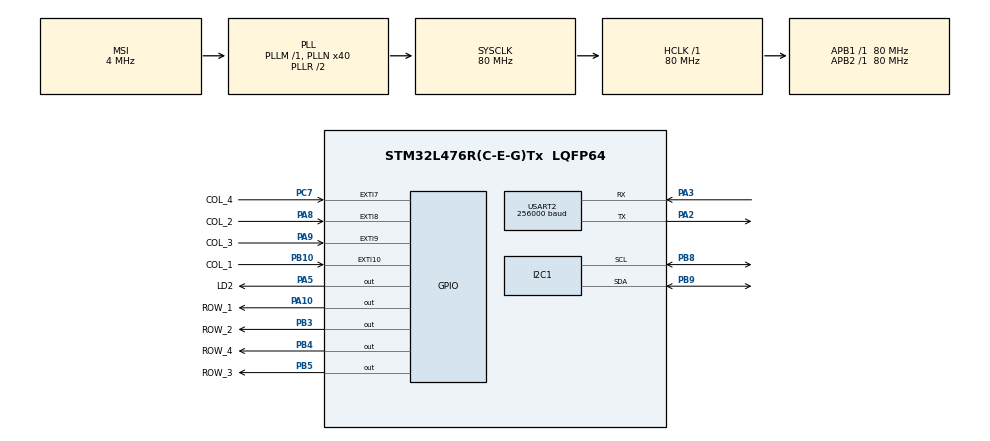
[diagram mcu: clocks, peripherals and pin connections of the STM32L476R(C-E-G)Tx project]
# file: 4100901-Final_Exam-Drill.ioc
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I2C1.Timing=0x10D19CE4
Mcu.Family=STM32L4
Mcu.Name=STM32L476R(C-E-G)Tx
Mcu.Package=LQFP64
NVIC.EXTI15_10_IRQn=true\:0\:0\:false\:false\:true\:true\:true\:true
NVIC.EXTI9_5_IRQn=true\:0\:0\:false\:false\:true\:true\:true\:true
NVIC.I2C1_ER_IRQn=true\:0\:0\:false\:false\:true\:true\:true\:true
NVIC.I2C1_EV_IRQn=true\:0\:0\:false\:false\:true\:true\:true\:true
NVIC.PriorityGroup=NVIC_PRIORITYGROUP_4
NVIC.USART2_IRQn=true\:0\:0\:false\:false\:true\:true\:true\:true
PA10.GPIO_Label=ROW_1
PA10.PinState=GPIO_PIN_SET
PA10.Signal=GPIO_Output
PA2.Mode=Asynchronous
PA2.Signal=USART2_TX
PA3.Mode=Asynchronous
PA3.Signal=USART2_RX
PA5.GPIO_Label=LD2
PA5.Signal=GPIO_Output
PA8.GPIO_Label=COL_2
PA8.GPIO_ModeDefaultEXTI=GPIO_MODE_IT_RISING
PA8.GPIO_PuPd=GPIO_PULLDOWN
PA8.Signal=GPXTI8
PA9.GPIO_Label=COL_3
PA9.GPIO_ModeDefaultEXTI=GPIO_MODE_IT_RISING
PA9.GPIO_PuPd=GPIO_PULLDOWN
PA9.Signal=GPXTI9
PB10.GPIO_Label=COL_1
PB10.GPIO_ModeDefaultEXTI=GPIO_MODE_IT_RISING
PB10.GPIO_PuPd=GPIO_PULLDOWN
PB10.Signal=GPXTI10
PB3\ (JTDO-TRACESWO).GPIO_Label=ROW_2
PB3\ (JTDO-TRACESWO).PinState=GPIO_PIN_SET
PB3\ (JTDO-TRACESWO).Signal=GPIO_Output
PB4\ (NJTRST).GPIO_Label=ROW_4
PB4\ (NJTRST).PinState=GPIO_PIN_SET
PB4\ (NJTRST).Signal=GPIO_Output
PB5.GPIO_Label=ROW_3
PB5.PinState=GPIO_PIN_SET
PB5.Signal=GPIO_Output
PB8.Mode=I2C
PB8.Signal=I2C1_SCL
PB9.Mode=I2C
PB9.Signal=I2C1_SDA
PC7.GPIO_Label=COL_4
PC7.GPIO_ModeDefaultEXTI=GPIO_MODE_IT_RISING
PC7.GPIO_PuPd=GPIO_PULLDOWN
PC7.Signal=GPXTI7
ProjectManager.HeapSize=0x200
ProjectManager.StackSize=0x400
ProjectManager.TargetToolchain=STM32CubeIDE
RCC.AHBFreq_Value=80000000
RCC.APB1Freq_Value=80000000
RCC.APB1TimFreq_Value=80000000
RCC.APB2Freq_Value=80000000
RCC.APB2TimFreq_Value=80000000
RCC.CortexFreq_Value=80000000
RCC.HCLKFreq_Value=80000000
RCC.HSE_VALUE=8000000
RCC.HSI_VALUE=16000000
RCC.LSE_VALUE=32768
RCC.MSI_VALUE=4000000
RCC.PLLN=40
RCC.SYSCLKFreq_VALUE=80000000
RCC.SYSCLKSource=RCC_SYSCLKSOURCE_PLLCLK
RCC.VCOOutputFreq_Value=160000000
USART2.BaudRate=256000
USART2.VirtualMode-Asynchronous=VM_ASYNC
board=custom

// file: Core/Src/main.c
/* USER CODE BEGIN Header */
/**
  ******************************************************************************
  * @file           : main.c
  * @brief          : Main program body
  ******************************************************************************
  * @attention
  *
  * Copyright (c) 2024 STMicroelectronics.
  * All rights reserved.
  *
  * This software is licensed under terms that can be found in the LICENSE file
  * in the root directory of this software component.
  * If no LICENSE file comes with this software, it is provided AS-IS.
  *
  ******************************************************************************
  */
/* USER CODE END Header */
#include "main.h"

/* USER CODE BEGIN Includes */
#include <stdio.h>
#include "ssd1306.h"
#include "ssd1306_fonts.h"

#include "keyboard_pass.h"
#include "blinking.h"
#include "ring_buffer.h"

/* USER CODE END Includes */

I2C_HandleTypeDef hi2c1;

UART_HandleTypeDef huart2;

/* USER CODE BEGIN PV */
#define USART2_BUFFER_SIZE 10
uint16_t usart2_buffer[USART2_BUFFER_SIZE];
ring_buffer_t usart2_rb;
uint16_t usart2_rx;

// Creamos una bandera para saber cuando el usuario presiona # o *
uint8_t enter = 0;

uint8_t password[10];

uint32_t left_toggles = 0;
uint32_t left_last_press_tick = 0;

// Buffer:
ring_buffer_t rb_usart2;

/* USER CODE END PV */

void SystemClock_Config(void);
static void MX_GPIO_Init(void);
static void MX_USART2_UART_Init(void);
static void MX_I2C1_Init(void);

/* USER CODE BEGIN 0 */
int _write(int file, char *ptr, int len)
{
  // to using printf
  HAL_UART_Transmit(&huart2, (uint8_t *)ptr, len, 10);
  return len;
}

void HAL_UART_RxCpltCallback(UART_HandleTypeDef *huart)
{
  /* Data received in USART2 */
  if (huart->Instance == USART2) {
	  usart2_rx = USART2->RDR; // leyendo el byte recibido de USART2
	  ring_buffer_write(&usart2_rb, usart2_rx); // put the data received in buffer
	  //HAL_UART_Receive_IT(&huart2, &usart2_rx, 1); // enable interrupt to continue receiving
	  ATOMIC_SET_BIT(USART2->CR1, USART_CR1_RXNEIE); // usando un funcion mas liviana para reducir memoria
  }
}

void HAL_GPIO_EXTI_Callback(uint16_t GPIO_Pin)
{
	uint8_t key_pressed = keypad_scan(GPIO_Pin);

	if (key_pressed != 0xFF) {
		// Al presionar # o * se cambia la variable enter a 1 y se sale del callback
		if(key_pressed == '#'){
			printf("ENTER: %c\r\n", key_pressed);
			enter = 1;
			return;
		}else if(key_pressed == '*'){
			ring_buffer_reset(&usart2_rb);
			HAL_GPIO_WritePin(LD2_GPIO_Port, LD2_Pin, GPIO_PIN_RESET);
			printf("RESET: %c\r\n", key_pressed);

			// Reseteamos el mensaje igualmente:
			ssd1306_FillRectangle(37, 50, 97, 20, Black);
			ssd1306_SetCursor(45, 30);
			ssd1306_WriteString("Hello!", Font_7x10, White);
			ssd1306_UpdateScreen();
			return;
		}

		printf("Pressed: %c\r\n", key_pressed);
		ring_buffer_write(&usart2_rb, key_pressed);
		return;
	}
}

void low_power_mode()
{
#define AWAKE_TIME (10 * 1000) // 10 segundos
	static uint32_t sleep_tick = AWAKE_TIME;

	if (sleep_tick > HAL_GetTick()) {
		return;
	}

	printf("Sleeping\r\n");
	sleep_tick = HAL_GetTick() + AWAKE_TIME;

	RCC->AHB1SMENR  = 0x0;
	RCC->AHB2SMENR  = 0x0;
	RCC->AHB3SMENR  = 0x0;

	RCC->APB1SMENR1 = 0x0;
	RCC->APB1SMENR2 = 0x0;
	RCC->APB2SMENR  = 0x0;

	/*Suspend Tick increment to prevent wakeup by Systick interrupt.
	Otherwise the Systick interrupt will wake up the device within 1ms (HAL time base)*/
	HAL_SuspendTick();

	/* Enter Sleep Mode , wake up is done once User push-button is pressed */
	HAL_PWR_EnterSLEEPMode(PWR_MAINREGULATOR_ON, PWR_SLEEPENTRY_WFI);

	/* Resume Tick interrupt if disabled prior to SLEEP mode entry */
	HAL_ResumeTick();

	printf("Awake\r\n");
}
/* USER CODE END 0 */

int main(void)
{

  /* MCU Configuration--------------------------------------------------------*/

  /* Reset of all peripherals, Initializes the Flash interface and the Systick. */
  HAL_Init();

  /* Configure the system clock */
  SystemClock_Config();

  /* Initialize all configured peripherals */
  MX_GPIO_Init();
  MX_USART2_UART_Init();
  MX_I2C1_Init();
  /* USER CODE BEGIN 2 */
  ring_buffer_init(&usart2_rb, usart2_buffer, USART2_BUFFER_SIZE);

	ssd1306_Init();
	ssd1306_SetCursor(45, 30);
	ssd1306_WriteString("Hello!", Font_7x10, White);
	ssd1306_UpdateScreen();
  /* USER CODE END 2 */

  /* Infinite loop */
  /* USER CODE BEGIN WHILE */
  printf("Starting...\r\n");

  uint8_t cont = 0;
  uint8_t toggle = 0;
  while (1)
  {
	  // Cuando la bandera se activa (se presiona * o #)
	  if (enter == 1) {
		  printf("Received:\r\n");
		  while (ring_buffer_is_empty(&usart2_rb) == 0) {
			  uint8_t data[10];
			  uint8_t read;

			  for (uint8_t i = 0; i <= 10; i++){
				  ring_buffer_read(&usart2_rb, &read);
				  data[i] = read;
			  };

			  if(keyboard_ID(data)){
				  cont = 0;
				  toggle = 0;
				  printf("Correct password");

				  // Si hay algo escrito, se borra:
				  ssd1306_FillRectangle(37, 50, 97, 20, Black);
				  ssd1306_SetCursor(40, 30);
				  ssd1306_UpdateScreen();

				  // Se escribe el mensaje
				  ssd1306_WriteString("Success!", Font_7x10, White);
				  ssd1306_UpdateScreen();

				  // Sen enciende el led:
				  blinking_on_led();

			  }else{
				  printf("Password error");

				  ssd1306_FillRectangle(37, 50, 97, 20, Black);
				  ssd1306_SetCursor(45, 30);
				  ssd1306_UpdateScreen();

				  ssd1306_WriteString("Error!", Font_7x10, White);
				  ssd1306_UpdateScreen();

				  // Se enciende el led 3 veces si la contraseña es incorrecta:
				  //blinking_led();
				  cont = 1;
				  toggle = 6;

				  // Si el led está encendido, se apaga completamente
				  HAL_GPIO_WritePin(LD2_GPIO_Port, LD2_Pin, GPIO_PIN_RESET);
			  }
		  }
		  printf("\r\n");
		  //ring_buffer_reset(usart2_rb);

		  enter = 0;
	  }
	  if(cont != 0){
		  cont = blinking_led_ret(&toggle);
	  }else{
	  low_power_mode();
	  }
    /* USER CODE END WHILE */

  }
}

void SystemClock_Config(void)
{
  RCC_OscInitTypeDef RCC_OscInitStruct = {0};
  RCC_ClkInitTypeDef RCC_ClkInitStruct = {0};

  /** Configure the main internal regulator output voltage
  */
  if (HAL_PWREx_ControlVoltageScaling(PWR_REGULATOR_VOLTAGE_SCALE1) != HAL_OK)
  {
    Error_Handler();
  }

  /** Initializes the RCC Oscillators according to the specified parameters
  * in the RCC_OscInitTypeDef structure.
  */
  RCC_OscInitStruct.OscillatorType = RCC_OSCILLATORTYPE_MSI;
  RCC_OscInitStruct.MSIState = RCC_MSI_ON;
  RCC_OscInitStruct.MSICalibrationValue = 0;
  RCC_OscInitStruct.MSIClockRange = RCC_MSIRANGE_6;
  RCC_OscInitStruct.PLL.PLLState = RCC_PLL_ON;
  RCC_OscInitStruct.PLL.PLLSource = RCC_PLLSOURCE_MSI;
  RCC_OscInitStruct.PLL.PLLM = 1;
  RCC_OscInitStruct.PLL.PLLN = 40;
  RCC_OscInitStruct.PLL.PLLP = RCC_PLLP_DIV7;
  RCC_OscInitStruct.PLL.PLLQ = RCC_PLLQ_DIV2;
  RCC_OscInitStruct.PLL.PLLR = RCC_PLLR_DIV2;
  if (HAL_RCC_OscConfig(&RCC_OscInitStruct) != HAL_OK)
  {
    Error_Handler();
  }

  /** Initializes the CPU, AHB and APB buses clocks
  */
  RCC_ClkInitStruct.ClockType = RCC_CLOCKTYPE_HCLK|RCC_CLOCKTYPE_SYSCLK
                              |RCC_CLOCKTYPE_PCLK1|RCC_CLOCKTYPE_PCLK2;
  RCC_ClkInitStruct.SYSCLKSource = RCC_SYSCLKSOURCE_PLLCLK;
  RCC_ClkInitStruct.AHBCLKDivider = RCC_SYSCLK_DIV1;
  RCC_ClkInitStruct.APB1CLKDivider = RCC_HCLK_DIV1;
  RCC_ClkInitStruct.APB2CLKDivider = RCC_HCLK_DIV1;

  if (HAL_RCC_ClockConfig(&RCC_ClkInitStruct, FLASH_LATENCY_4) != HAL_OK)
  {
    Error_Handler();
  }
}

static void MX_I2C1_Init(void)
{

  hi2c1.Instance = I2C1;
  hi2c1.Init.Timing = 0x10D19CE4;
  hi2c1.Init.OwnAddress1 = 0;
  hi2c1.Init.AddressingMode = I2C_ADDRESSINGMODE_7BIT;
  hi2c1.Init.DualAddressMode = I2C_DUALADDRESS_DISABLE;
  hi2c1.Init.OwnAddress2 = 0;
  hi2c1.Init.OwnAddress2Masks = I2C_OA2_NOMASK;
  hi2c1.Init.GeneralCallMode = I2C_GENERALCALL_DISABLE;
  hi2c1.Init.NoStretchMode = I2C_NOSTRETCH_DISABLE;
  if (HAL_I2C_Init(&hi2c1) != HAL_OK)
  {
    Error_Handler();
  }

  /** Configure Analogue filter
  */
  if (HAL_I2CEx_ConfigAnalogFilter(&hi2c1, I2C_ANALOGFILTER_ENABLE) != HAL_OK)
  {
    Error_Handler();
  }

  /** Configure Digital filter
  */
  if (HAL_I2CEx_ConfigDigitalFilter(&hi2c1, 0) != HAL_OK)
  {
    Error_Handler();
  }

}

static void MX_USART2_UART_Init(void)
{

  huart2.Instance = USART2;
  huart2.Init.BaudRate = 256000;
  huart2.Init.WordLength = UART_WORDLENGTH_8B;
  huart2.Init.StopBits = UART_STOPBITS_1;
  huart2.Init.Parity = UART_PARITY_NONE;
  huart2.Init.Mode = UART_MODE_TX_RX;
  huart2.Init.HwFlowCtl = UART_HWCONTROL_NONE;
  huart2.Init.OverSampling = UART_OVERSAMPLING_16;
  huart2.Init.OneBitSampling = UART_ONE_BIT_SAMPLE_DISABLE;
  huart2.AdvancedInit.AdvFeatureInit = UART_ADVFEATURE_NO_INIT;
  if (HAL_UART_Init(&huart2) != HAL_OK)
  {
    Error_Handler();
  }

}

static void MX_GPIO_Init(void)
{
  GPIO_InitTypeDef GPIO_InitStruct = {0};

  /* GPIO Ports Clock Enable */
  __HAL_RCC_GPIOA_CLK_ENABLE();
  __HAL_RCC_GPIOB_CLK_ENABLE();
  __HAL_RCC_GPIOC_CLK_ENABLE();

  /*Configure GPIO pin Output Level */
  HAL_GPIO_WritePin(LD2_GPIO_Port, LD2_Pin, GPIO_PIN_RESET);

  /*Configure GPIO pin Output Level */
  HAL_GPIO_WritePin(ROW_1_GPIO_Port, ROW_1_Pin, GPIO_PIN_SET);

  /*Configure GPIO pin Output Level */
  HAL_GPIO_WritePin(GPIOB, ROW_2_Pin|ROW_4_Pin|ROW_3_Pin, GPIO_PIN_SET);

  /*Configure GPIO pins : LD2_Pin ROW_1_Pin */
  GPIO_InitStruct.Pin = LD2_Pin|ROW_1_Pin;
  GPIO_InitStruct.Mode = GPIO_MODE_OUTPUT_PP;
  GPIO_InitStruct.Pull = GPIO_NOPULL;
  GPIO_InitStruct.Speed = GPIO_SPEED_FREQ_LOW;
  HAL_GPIO_Init(GPIOA, &GPIO_InitStruct);

  /*Configure GPIO pin : COL_1_Pin */
  GPIO_InitStruct.Pin = COL_1_Pin;
  GPIO_InitStruct.Mode = GPIO_MODE_IT_RISING;
  GPIO_InitStruct.Pull = GPIO_PULLDOWN;
  HAL_GPIO_Init(COL_1_GPIO_Port, &GPIO_InitStruct);

  /*Configure GPIO pin : COL_4_Pin */
  GPIO_InitStruct.Pin = COL_4_Pin;
  GPIO_InitStruct.Mode = GPIO_MODE_IT_RISING;
  GPIO_InitStruct.Pull = GPIO_PULLDOWN;
  HAL_GPIO_Init(COL_4_GPIO_Port, &GPIO_InitStruct);

  /*Configure GPIO pins : COL_2_Pin COL_3_Pin */
  GPIO_InitStruct.Pin = COL_2_Pin|COL_3_Pin;
  GPIO_InitStruct.Mode = GPIO_MODE_IT_RISING;
  GPIO_InitStruct.Pull = GPIO_PULLDOWN;
  HAL_GPIO_Init(GPIOA, &GPIO_InitStruct);

  /*Configure GPIO pins : ROW_2_Pin ROW_4_Pin ROW_3_Pin */
  GPIO_InitStruct.Pin = ROW_2_Pin|ROW_4_Pin|ROW_3_Pin;
  GPIO_InitStruct.Mode = GPIO_MODE_OUTPUT_PP;
  GPIO_InitStruct.Pull = GPIO_NOPULL;
  GPIO_InitStruct.Speed = GPIO_SPEED_FREQ_LOW;
  HAL_GPIO_Init(GPIOB, &GPIO_InitStruct);

  /* EXTI interrupt init*/
  HAL_NVIC_SetPriority(EXTI9_5_IRQn, 0, 0);
  HAL_NVIC_EnableIRQ(EXTI9_5_IRQn);

  HAL_NVIC_SetPriority(EXTI15_10_IRQn, 0, 0);
  HAL_NVIC_EnableIRQ(EXTI15_10_IRQn);

}

void Error_Handler(void)
{
  __disable_irq();
  while (1)
  {
  }
}
